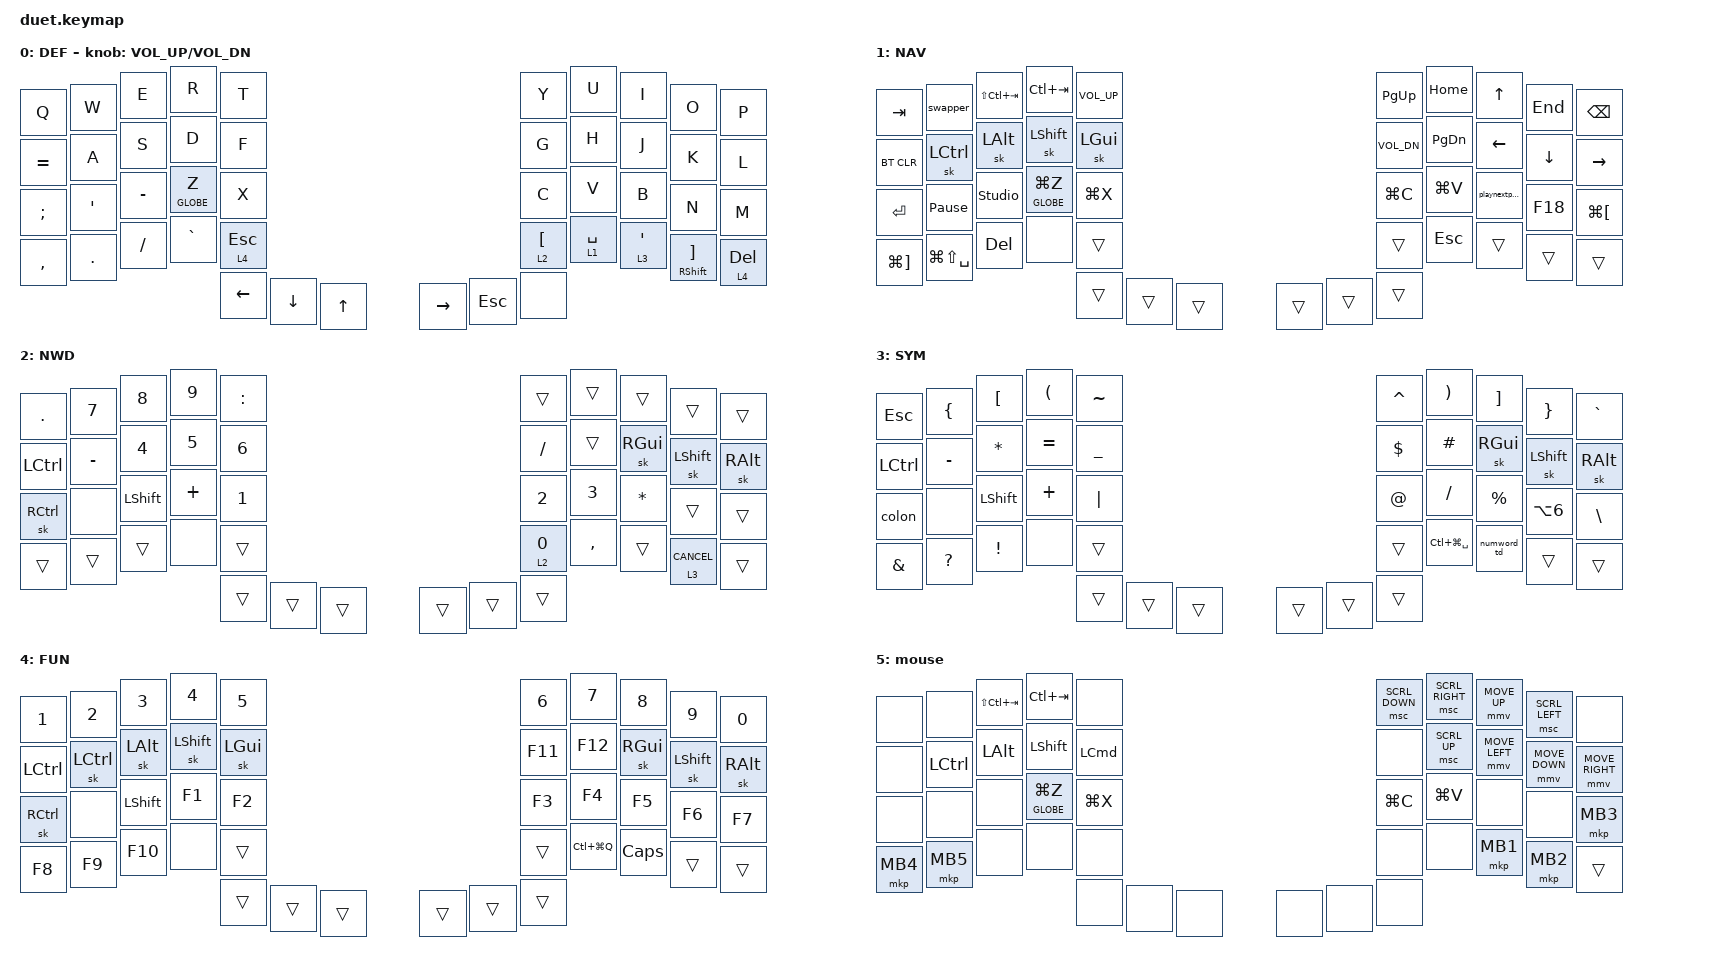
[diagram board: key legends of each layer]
#include "mouse.dtsi"
#include <behaviors.dtsi>
#include <dt-bindings/zmk/bt.h>
#include <dt-bindings/zmk/keys.h>
#include <dt-bindings/zmk/mouse.h>

#define DEF 0
#define NWD 1
#define NAV 2
#define SYM 3
#define FUN 4
#define mouse 5
#define KEYS_L 0 1 2 3 4 30 10 11 12 13 14 31 20 21 22 23 24  // left-hand keys
#define KEYS_R 5 6 7 8 9 15 16 17 18 19 39 25 26 27 28 29 38  // right-hand keys
#define THUMBS 32 33 34 35 36 37

// Mouse config copied from urob's config

#define ZMK_MOUSE_DEFAULT_MOVE_VAL 1500  // 600
#define ZMK_MOUSE_DEFAULT_SCRL_VAL 20    // 10

&mmv {
    acceleration-exponent = <1>;      // 1
    time-to-max-speed-ms = <500>;    // 40
    delay-ms = <0>;                   // 0
};

&msc {
    acceleration-exponent = <1>;      // 0
    time-to-max-speed-ms = <40>;      // 500
    delay-ms = <0>;                   // 10
};

// Customized caps word to allow for easier canceling and accented characters

&caps_word {
    /delete-property/ ignore-modifiers; // Canceling &caps_word with mods avoids `CMD-SHIFT-S` when I was just trying to type `CMD-S`, since CMD will cancel &caps_word
    continue-list = <UNDERSCORE MINUS SQT CARET TILDE GRAVE K_CANCEL BACKSPACE DELETE LSHFT>; // adding LSHFT is required to use some dead keys for diacriticals in PT-BR  (such as ~, ` and ^). This makes RSHFT a better candidate for my thumb key, as it can cancel &capsword on activation
};

// Emulating Callum's timerless OSM behaviour as close as possible

&sk {
    quick-release; // avoids "THis" problem
    release-after-ms = <600000>; // 1000 ms is default. I've set mine to a bonkers 10 minutes timer in order to emulate Callum's OSM, which is timeless, as close as possible
};

// Hold-taps

&lt { flavor = "hold-preferred"; }; // Using it in NWD and AOE layers
&mt { flavor = "balanced"; }; // Globe/fn and AOE mod-taps for gaming
&encoder { status = "okay"; };

/ {
    chosen { zmk,physical-layout = &default_layout; };
    combos {
        compatible = "zmk,combos";

        // Left hand combos for use with the mouse on the right-hand or from AOE layers

        left_hand_esc_combo {
            bindings = <&kp ESCAPE>;
            require-prior-idle-ms = <200>; // Followind urob's formula for my 52 relaxed WPM: 10500/52 wpm ≅ 200 ms
            timeout-ms = <30>;
            layers = <0>;
            key-positions = <0 11>;
        };

        left_hand_tab_combo {
            bindings = <&kp TAB>;
            require-prior-idle-ms = <200>;
            timeout-ms = <30>;
            layers = <0>;
            key-positions = <1 12>;
        };

        left_hand_backspace_combo {
            bindings = <&kp BSPC>;
            require-prior-idle-ms = <200>;
            timeout-ms = <30>;
            layers = <0 2>;
            key-positions = <2 13>;
        };

        left_hand_enter_combo {
            bindings = <&kp ENTER>;
            require-prior-idle-ms = <200>;
            timeout-ms = <30>;
            layers = <0 2>;
            key-positions = <3 14>;
        };

        left_hand_del_combo {
            bindings = <&kp DEL>;
            require-prior-idle-ms = <200>;
            timeout-ms = <30>;
            layers = <0>;
            key-positions = <4 15>;
        };

        // Special layer toggles

        switch_lang {
            key-positions = <35 36>;
            layers = <0 2>;
            bindings = <&kp LC(SPACE)>;
        };

        enter {
            key-positions = <37 38>;
            layers = <0 1>;
            bindings = <&kp ENTER>;
        };

        activate_smart_mouse_layer_combo {
            key-positions = <30 31 29>;
            layers = <0>;
            bindings = <&smart_mouse>;
        };

        // Keyboard adjustments combos (replaces a dedicated SYS layer)

        sys_bootloader {
            key-positions = <20 21>;
            layers = <4>;
            bindings = <&bootloader>;
        };

        sys_toggle_bt0_connection {
            key-positions = <3 4>;
            layers = <1>;
            bindings = <&bt BT_SEL 0>;
            timeout-ms = <30>;
            require-prior-idle-ms = <200>;
        };

        sys_toggle_bt1_connection {
            key-positions = <14 15>;
            layers = <1>;
            bindings = <&bt BT_SEL 1>;
            timeout-ms = <30>;
            require-prior-idle-ms = <200>;
        };

        sys_toggle_bt2_connection {
            key-positions = <27 26>;
            layers = <1>;
            bindings = <&bt BT_SEL 2>;
            timeout-ms = <30>;
            require-prior-idle-ms = <200>;
        };

        sys_clear_current_bluetooth_profile {
            key-positions = <28 29>;
            layers = <1>;
            bindings = <&bt BT_CLR>;
            timeout-ms = <30>;
            require-prior-idle-ms = <200>;
        };

        // Anachronic inspired combos to avoid problems SYM keys in quick succession when the corresponding key is pressed quickly before the layer key (https://github.com/theol0403/anachron-zmk-config)
        // I guess this is more of a problem when using mod-taps on thumbs, which is not my case
    };

    behaviors {
        shft_cw: shift_and_caps_word {
            compatible = "zmk,behavior-tap-dance";
            #binding-cells = <0>;
            tapping-term-ms = <300>;
            bindings = <&kp RSHFT>, <&caps_word>;
        };

        playnextprev: play_next_previous_media {
            compatible = "zmk,behavior-tap-dance";
            #binding-cells = <0>;
            tapping-term-ms = <300>;
            bindings = <&kp C_PLAY_PAUSE>, <&kp C_NEXT>, <&kp C_PREVIOUS>;
        };

        numword_td: numword_tap_dance {
            compatible = "zmk,behavior-tap-dance";
            #binding-cells = <0>;
            tapping-term-ms = <200>;
            bindings = <&numword>, <&tog NWD>;
        };

        numword: numword {
            compatible = "zmk,behavior-caps-word"; // Custom caps-word (PR #1451)
            #binding-cells = <0>;
            layers = <1>;
            continue-list = <BACKSPACE DELETE LPAR RPAR DOT COMMA SEMI COLON SLASH PLUS MINUS ASTRK EQUAL LGUI LALT LCTRL LSHFT RGUI RALT RCTRL>; // RSHFT tap on left thumb will cancel without entering any other character
            ignore-numbers;
        };

        swapper: swapper {
            compatible = "zmk,behavior-tri-state"; // requires tri-state (PR #1366)
            #binding-cells = <0>;
            bindings = <&kt LCMD>, <&kp TAB>, <&kt LCMD>;

            ignored-key-positions = <0 3 7 9 16 17 18 28 29>; // Tab, Shift, Arrow key positions and DEL/BSPC to quit app/close window from altTab
        };

        smart_mouse: smart_mouse {
            compatible = "zmk,behavior-tri-state"; // requires tri-state (PR #1366)
            #binding-cells = <0>;
            bindings = <&tog 5>, <&none>, <&tog 5>;

            ignored-layers = <5>;
            ignored-key-positions = <
            7 16 17 18
            5 15 6 8 
            32 33 
            26 27 28 
            10 11 12 13 
            20 21 22 23 
            1 2 3 
            >;

            // Every key set in mouse layer
        };
    };

    macros {
        lc: mo_layer_switch_with_an_embeded_cancel_tap {
            compatible = "zmk,behavior-macro-one-param";
            wait-ms = <0>;
            tap-ms = <0>;
            #binding-cells = <1>;
            bindings =
                <&macro_tap>,
                <&kp K_CANCEL &macro_param_1to1>,
                <&macro_press>,
                <&mo MACRO_PLACEHOLDER>,
                <&macro_pause_for_release>,
                <&macro_param_1to1>,
                <&macro_release>,
                <&mo MACRO_PLACEHOLDER>;
        };

        colon: colon {
            compatible = "zmk,behavior-macro";
            #binding-cells = <0>;
            bindings = <&macro_tap>, <&kp LC(SPACE) &kp COLON &kp LC(SPACE)>;

            label = "COLON";
        };
    };

    conditional_layers {
        compatible = "zmk,conditional-layers";

        tri_layer {
            if-layers = <1 3>;
            then-layer = <4>;
        };
    };

    keymap {
        compatible = "zmk,keymap";

        DEF {
            bindings = <
           &kp Q        &kp W   &kp E      &kp R               &kp T          &kp Y      &kp U                          &kp I      &kp O    &kp P
&kp EQUAL  &kp A        &kp S   &kp D      &kp F               &kp G          &kp H      &kp J                          &kp K      &kp L    &kp SEMI   &kp SQT
&kp MINUS  &mt GLOBE Z  &kp X   &kp C      &kp V               &kp B          &kp N      &kp M                          &kp COMMA  &kp DOT  &kp SLASH  &kp GRAVE
                                &lt 4 ESC  &lt 2 LEFT_BRACKET  &lt 1 SPACE    &lt 3 SQT  &mt RIGHT_SHIFT RIGHT_BRACKET  &lt 4 DEL
&kp LEFT   &kp DOWN     &kp UP  &kp RIGHT  &kp ESC                                                                                 &none
            >;

            sensor-bindings = <&inc_dec_kp C_VOL_UP C_VOL_DN>;
        };

        NAV {
            bindings = <
                     &kp TAB          &swapper   &kp LS(LC(TAB))  &kp LC(TAB)  &kp C_VOL_UP     &kp PG_UP  &kp HOME      &kp UP        &kp END            &kp BSPC
&bt BT_CLR           &sk LCTRL        &sk LALT   &sk LSHFT        &sk LGUI     &kp C_VOL_DN     &kp PG_DN  &kp LEFT      &kp DOWN      &kp RIGHT          &kp ENTER  &kp PAUSE_BREAK
&studio_unlock       &mt GLOBE LG(Z)  &kp LG(X)  &kp LG(C)        &kp LG(V)    &playnextprev    &kp F18    &kp LG(LBKT)  &kp LG(RBKT)  &kp LG(LS(SPACE))  &kp DEL    &none
                                        &trans           &trans       &kp ESC          &trans     &trans        &trans
&trans      &trans           &trans     &trans           &trans                                                               &trans
            >;
        };

        NWD {
            bindings = <
           &kp DOT    &kp N7  &kp N8  &kp N9    &kp COLON    &trans  &trans          &trans     &trans    &trans
&kp LCTRL  &kp MINUS  &kp N4  &kp N5  &kp N6    &kp SLASH    &trans  &sk RGUI        &sk LSHFT  &sk RALT  &sk RCTRL  &none
&kp LSHFT  &kp PLUS   &kp N1  &kp N2  &kp N3    &kp ASTRK    &trans  &trans          &trans     &trans    &trans     &none
                              &trans  &lt 2 N0  &kp COMMA    &trans  &lt 3 K_CANCEL  &trans
&trans     &trans     &trans  &trans  &trans                                                    &trans
            >;
        };

        SYM {
            bindings = <
           &kp ESC    &kp LBRC   &kp LBKT   &kp LPAR   &kp TILDE            &kp CARET    &kp RPAR  &kp RBKT   &kp RBRC   &kp GRAVE
&kp LCTRL  &kp MINUS  &kp ASTRK  &kp EQUAL  &kp UNDER  &kp DLLR             &kp HASH     &sk RGUI  &sk LSHFT  &sk RALT   &colon     &none
&kp LSHFT  &kp PLUS   &kp PIPE   &kp AT     &kp FSLH   &kp PRCNT            &kp LA(N6)   &kp BSLH  &kp AMPS   &kp QMARK  &kp EXCL   &none
                                 &trans     &trans     &kp LC(LG(SPACE))    &numword_td  &trans    &trans
&trans     &trans     &trans     &trans     &trans                                                            &trans
            >;
        };

        FUN {
            bindings = <
           &kp N1     &kp N2    &kp N3     &kp N4    &kp N5           &kp N6        &kp N7    &kp N8     &kp N9    &kp N0
&kp LCTRL  &sk LCTRL  &sk LALT  &sk LSHFT  &sk LGUI  &kp F11          &kp F12       &sk RGUI  &sk LSHFT  &sk RALT  &sk RCTRL  &none
&kp LSHFT  &kp F1     &kp F2    &kp F3     &kp F4    &kp F5           &kp F6        &kp F7    &kp F8     &kp F9    &kp F10    &none
                                &trans     &trans    &kp LC(LG(Q))    &kp CAPSLOCK  &trans    &trans
&trans     &trans     &trans    &trans     &trans                                                        &trans
            >;
        };

        mouse {
            bindings = <
       &none            &none      &kp LS(LC(TAB))  &kp LC(TAB)  &none    &msc SCRL_DOWN  &msc SCRL_RIGHT  &mmv MOVE_UP    &msc SCRL_LEFT   &none
&none  &kp LCTRL        &kp LALT   &kp LSHFT        &kp LCMD     &none    &msc SCRL_UP    &mmv MOVE_LEFT   &mmv MOVE_DOWN  &mmv MOVE_RIGHT  &none  &none
&none  &mt GLOBE LG(Z)  &kp LG(X)  &kp LG(C)        &kp LG(V)    &none    &none           &mkp MB3         &mkp MB4        &mkp MB5         &none  &none
                                   &none            &none        &none    &mkp MB1        &mkp MB2         &trans
&none  &none            &none      &none            &none                                                                  &none
            >;
        };
    };
};
